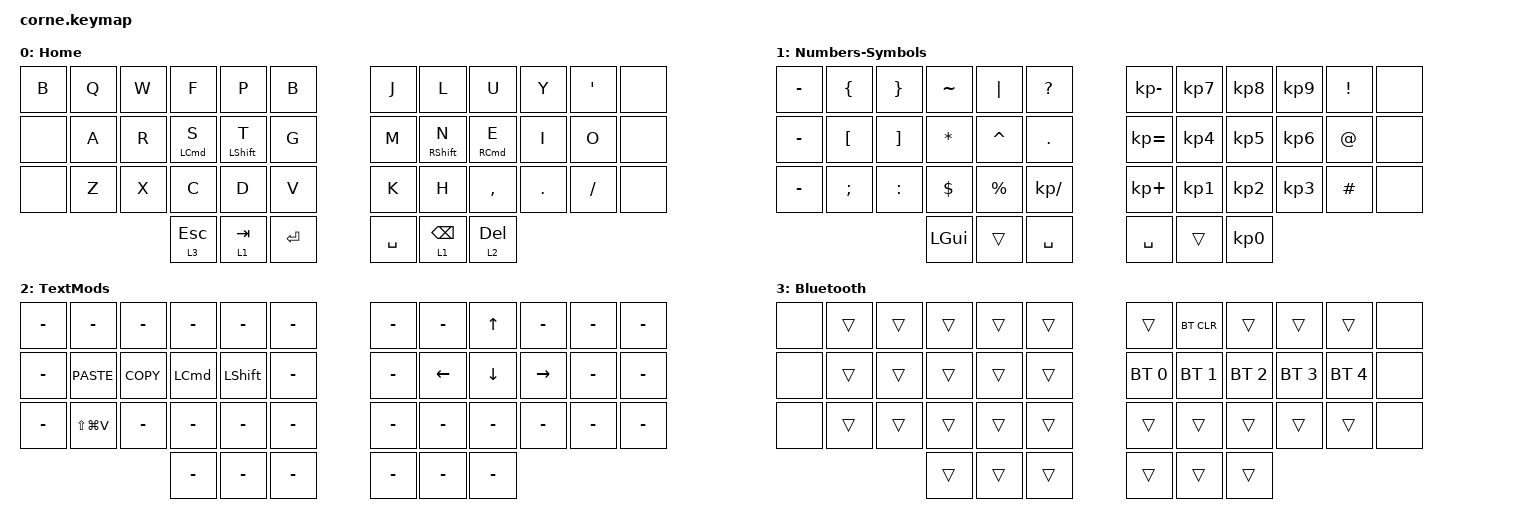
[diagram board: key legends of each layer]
/*
 * Copyright (c) 2020 The ZMK Contributors
 *
 * SPDX-License-Identifier: MIT
 */

#include <behaviors.dtsi>
#include <dt-bindings/zmk/bt.h>
#include <dt-bindings/zmk/keys.h>

/ {
    keymap {
        compatible = "zmk,keymap";

        Home {
            // -----------------------------------------------------------------------------------------
            // |  TAB |  Q  |  W  |  E  |  R  |  T  |   |  Y  |  U   |  I  |  O  |  P  | BKSP |
            // | CTRL |  A  |  S  |  D  |  F  |  G  |   |  H  |  J   |  K  |  L  |  ;  |  '   |
            // | SHFT |  Z  |  X  |  C  |  V  |  B  |   |  N  |  M   |  ,  |  .  |  /  | ESC  |
            //                    | GUI | LWR | SPC |   | ENT | RSE  | ALT |

            bindings = <
&kp B  &kp Q  &kp W  &kp F               &kp P             &kp B      &kp J      &kp L              &kp U                &kp Y    &kp SQT   &none
&none  &kp A  &kp R  &mt LEFT_COMMAND S  &mt LEFT_SHIFT T  &kp G      &kp M      &mt RIGHT_SHIFT N  &mt RIGHT_COMMAND E  &kp I    &kp O     &none
&none  &kp Z  &kp X  &kp C               &kp D             &kp V      &kp K      &kp H              &kp COMMA            &kp DOT  &kp FSLH  &none
                     &lt 3 ESC           &lt 1 TAB         &kp RET    &kp SPACE  &lt 1 BACKSPACE    &lt 2 DEL
            >;
        };

        Numbers-Symbols {
            // -----------------------------------------------------------------------------------------
            // |  TAB |  1  |  2  |  3  |  4  |  5  |   |  6  |  7  |  8  |  9  |  0  | BKSP |
            // | BTCLR| BT1 | BT2 | BT3 | BT4 | BT5 |   | LFT | DWN |  UP | RGT |     |      |
            // | SHFT |     |     |     |     |     |   |     |     |     |     |     |      |
            //                    | GUI |     | SPC |   | ENT |     | ALT |

            bindings = <
&kp MINUS  &kp LEFT_BRACE    &kp RIGHT_BRACE    &kp TILDE     &kp PIPE     &kp QUESTION    &kp KP_MINUS  &kp KP_NUMBER_7  &kp KP_NUMBER_8  &kp KP_NUMBER_9  &kp EXCLAMATION  &none
&kp MINUS  &kp LEFT_BRACKET  &kp RIGHT_BRACKET  &kp ASTERISK  &kp CARET    &kp PERIOD      &kp KP_EQUAL  &kp KP_NUMBER_4  &kp KP_NUMBER_5  &kp KP_NUMBER_6  &kp AT_SIGN      &none
&kp MINUS  &kp SEMI          &kp COLON          &kp DOLLAR    &kp PERCENT  &kp KP_SLASH    &kp KP_PLUS   &kp KP_NUMBER_1  &kp KP_NUMBER_2  &kp KP_NUMBER_3  &kp POUND        &none
                                                &kp LGUI      &trans       &kp SPACE       &kp SPACE     &trans           &kp KP_NUMBER_0
            >;
        };

        TextMods {
            // -----------------------------------------------------------------------------------------
            // |  TAB |  !  |  @  |  #  |  $  |  %  |   |  ^  |  &  |  *  |  (  |  )  | BKSP |
            // | CTRL |     |     |     |     |     |   |  -  |  =  |  [  |  ]  |  \  |  `   |
            // | SHFT |     |     |     |     |     |   |  _  |  +  |  {  |  }  | "|" |  ~   |
            //                    | GUI |     | SPC |   | ENT |     | ALT |

            bindings = <
&kp MINUS  &kp MINUS      &kp MINUS   &kp MINUS         &kp MINUS       &kp MINUS    &kp MINUS  &kp MINUS  &kp UP     &kp MINUS  &kp MINUS  &kp MINUS
&kp MINUS  &kp K_PASTE    &kp K_COPY  &kp LEFT_COMMAND  &kp LEFT_SHIFT  &kp MINUS    &kp MINUS  &kp LEFT   &kp DOWN   &kp RIGHT  &kp MINUS  &kp MINUS
&kp MINUS  &kp LS(LG(V))  &kp MINUS   &kp MINUS         &kp MINUS       &kp MINUS    &kp MINUS  &kp MINUS  &kp MINUS  &kp MINUS  &kp MINUS  &kp MINUS
                                      &kp MINUS         &kp MINUS       &kp MINUS    &kp MINUS  &kp MINUS  &kp MINUS
            >;
        };

        Bluetooth {
            bindings = <
&none  &trans  &trans  &trans  &trans  &trans    &trans        &bt BT_CLR    &trans        &trans        &trans        &none
&none  &trans  &trans  &trans  &trans  &trans    &bt BT_SEL 0  &bt BT_SEL 1  &bt BT_SEL 2  &bt BT_SEL 3  &bt BT_SEL 4  &none
&none  &trans  &trans  &trans  &trans  &trans    &trans        &trans        &trans        &trans        &trans        &none
                       &trans  &trans  &trans    &trans        &trans        &trans
            >;
        };
    };
};
